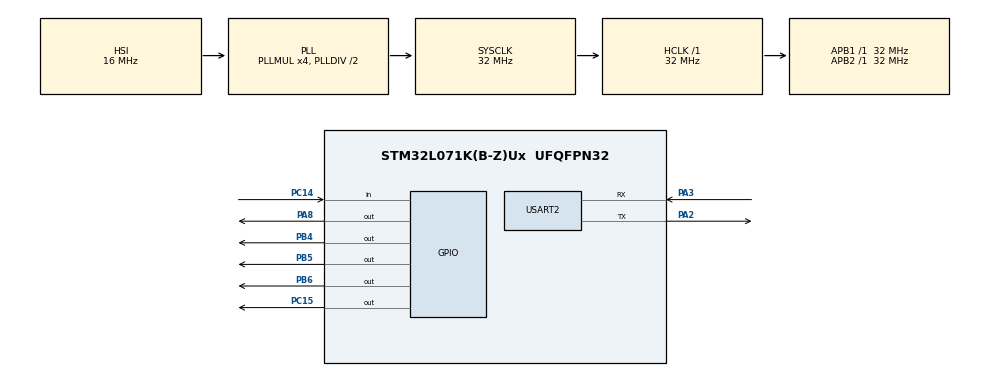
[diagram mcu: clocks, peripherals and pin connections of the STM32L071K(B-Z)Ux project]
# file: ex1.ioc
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Mcu.Family=STM32L0
Mcu.Name=STM32L071K(B-Z)Ux
Mcu.Package=UFQFPN32
PA13.Mode=Serial_Wire
PA13.Signal=SYS_SWDIO
PA14.Mode=Serial_Wire
PA14.Signal=SYS_SWCLK
PA2.Mode=Asynchronous
PA2.Signal=USART2_TX
PA3.Mode=Asynchronous
PA3.Signal=USART2_RX
PA8.Signal=GPIO_Output
PB4.Signal=GPIO_Output
PB5.Signal=GPIO_Output
PB6.Signal=GPIO_Output
PC14-OSC32_IN.Signal=GPIO_Input
PC15-OSC32_OUT.Signal=GPIO_Output
ProjectManager.HeapSize=0x200
ProjectManager.StackSize=0x400
ProjectManager.TargetToolchain=MDK-ARM V5
RCC.AHBFreq_Value=32000000
RCC.APB1Freq_Value=32000000
RCC.APB1TimFreq_Value=32000000
RCC.APB2Freq_Value=32000000
RCC.APB2TimFreq_Value=32000000
RCC.HCLKFreq_Value=32000000
RCC.HSI16_VALUE=16000000
RCC.HSI_VALUE=16000000
RCC.LSE_VALUE=32768
RCC.MSI_VALUE=2097000
RCC.PLLMUL=RCC_PLLMUL_4
RCC.SYSCLKFreq_VALUE=32000000
RCC.SYSCLKSource=RCC_SYSCLKSOURCE_PLLCLK
RCC.VCOOutputFreq_Value=64000000
RTC.Format=RTC_FORMAT_BIN
USART2.VirtualMode-Asynchronous=VM_ASYNC
VP_RTC_VS_RTC_Activate.Mode=RTC_Enabled
VP_RTC_VS_RTC_Calendar.Mode=RTC_Calendar
board=custom

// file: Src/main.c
/* USER CODE BEGIN Header */
/**
  ******************************************************************************
  * @file           : main.c
  * @brief          : Main program body
  ******************************************************************************
  * @attention
  *
  * <h2><center>&copy; Copyright (c) 2019 STMicroelectronics.
  * All rights reserved.</center></h2>
  *
  * This software component is licensed by ST under BSD 3-Clause license,
  * the "License"; You may not use this file except in compliance with the
  * License. You may obtain a copy of the License at:
  *                        opensource.org/licenses/BSD-3-Clause
  *
  ******************************************************************************
  */
/* USER CODE END Header */

#include "main.h"
#include "rtc.h"
#include "usart.h"
#include "gpio.h"
#include "stdlib.h"

void SystemClock_Config(void);

/* USER CODE BEGIN 0 */
void Task_BrdInit(void)
{
    HAL_GPIO_WritePin(GPIOC, GPIO_PIN_15, GPIO_PIN_SET);

    OLED_PowerControl(ENABLE);

    HAL_Delay(200);
    OLED_Init();
    OLED_Clear();

    OLED_ShowString(0, 0, (unsigned char *)"                ", 16);
    OLED_ShowString(0, 2, (unsigned char *)"                ", 16);

}
/* USER CODE END 0 */

int main(void)
{
  /* USER CODE BEGIN 1 */
    char lcdLine_1st_line[16];
    char lcdLine_2st_line[16];

  /* USER CODE END 1 */

  /* MCU Configuration--------------------------------------------------------*/

  /* Reset of all peripherals, Initializes the Flash interface and the Systick. */
  HAL_Init();

  /* Configure the system clock */
  SystemClock_Config();

  /* Initialize all configured peripherals */
  MX_GPIO_Init();
  MX_RTC_Init();
  MX_USART2_UART_Init();
  /* USER CODE BEGIN 2 */
    Task_BrdInit();
  /* USER CODE END 2 */

  /* Infinite loop */
    while (1)
    {

    /* USER CODE BEGIN 3 */
		RTC_TimeTypeDef NowTime;
    RTC_DateTypeDef NowDate;
    char lcdLine_1st_line[16];
    char lcdLine_2nd_line[16];
//			unsigned char txt[16]=" ",tx1[2];
//			double a;

    HAL_RTC_GetTime(&hrtc, &NowTime, RTC_FORMAT_BIN);

    HAL_RTC_GetDate(&hrtc, &NowDate, RTC_FORMAT_BIN);

		sprintf(lcdLine_1st_line, "%d : %d : %d ", NowDate.Year, NowDate.Month, NowDate.Date);
    sprintf(lcdLine_2nd_line, "%d : %d : %d ", NowTime.Hours, NowTime.Minutes, NowTime.Seconds);

		OLED_ShowString(0, 0, (unsigned char *)lcdLine_1st_line, 16);
    OLED_ShowString(0, 2, (unsigned char *)lcdLine_2nd_line, 16);

//			HAL_UART_Receive(&huart2,txt,sizeof(txt),0xffff);
//			if(txt[0]=='1')
//			{
//				HAL_GPIO_WritePin(GPIOC, GPIO_PIN_15, GPIO_PIN_RESET);
////				tx1=txt[1];a=atof(tx1);
//				NowTime.Hours=txt[1]*10+txt[2];
//				NowTime.Minutes=txt[4]*10+txt[5];
//				HAL_RTC_SetTime(&hrtc, &NowTime, RTC_FORMAT_BIN);
//			}
    }
  /* USER CODE END 3 */
}

void SystemClock_Config(void)
{
  RCC_OscInitTypeDef RCC_OscInitStruct = {0};
  RCC_ClkInitTypeDef RCC_ClkInitStruct = {0};
  RCC_PeriphCLKInitTypeDef PeriphClkInit = {0};

  /** Configure the main internal regulator output voltage
  */
  __HAL_PWR_VOLTAGESCALING_CONFIG(PWR_REGULATOR_VOLTAGE_SCALE1);
  /** Initializes the CPU, AHB and APB busses clocks
  */
  RCC_OscInitStruct.OscillatorType = RCC_OSCILLATORTYPE_HSI|RCC_OSCILLATORTYPE_LSI;
  RCC_OscInitStruct.HSIState = RCC_HSI_ON;
  RCC_OscInitStruct.HSICalibrationValue = RCC_HSICALIBRATION_DEFAULT;
  RCC_OscInitStruct.LSIState = RCC_LSI_ON;
  RCC_OscInitStruct.PLL.PLLState = RCC_PLL_ON;
  RCC_OscInitStruct.PLL.PLLSource = RCC_PLLSOURCE_HSI;
  RCC_OscInitStruct.PLL.PLLMUL = RCC_PLLMUL_4;
  RCC_OscInitStruct.PLL.PLLDIV = RCC_PLLDIV_2;
  if (HAL_RCC_OscConfig(&RCC_OscInitStruct) != HAL_OK)
  {
    Error_Handler();
  }
  /** Initializes the CPU, AHB and APB busses clocks
  */
  RCC_ClkInitStruct.ClockType = RCC_CLOCKTYPE_HCLK|RCC_CLOCKTYPE_SYSCLK
                              |RCC_CLOCKTYPE_PCLK1|RCC_CLOCKTYPE_PCLK2;
  RCC_ClkInitStruct.SYSCLKSource = RCC_SYSCLKSOURCE_PLLCLK;
  RCC_ClkInitStruct.AHBCLKDivider = RCC_SYSCLK_DIV1;
  RCC_ClkInitStruct.APB1CLKDivider = RCC_HCLK_DIV1;
  RCC_ClkInitStruct.APB2CLKDivider = RCC_HCLK_DIV1;

  if (HAL_RCC_ClockConfig(&RCC_ClkInitStruct, FLASH_LATENCY_1) != HAL_OK)
  {
    Error_Handler();
  }
  PeriphClkInit.PeriphClockSelection = RCC_PERIPHCLK_USART2|RCC_PERIPHCLK_RTC;
  PeriphClkInit.Usart2ClockSelection = RCC_USART2CLKSOURCE_PCLK1;
  PeriphClkInit.RTCClockSelection = RCC_RTCCLKSOURCE_LSI;
  if (HAL_RCCEx_PeriphCLKConfig(&PeriphClkInit) != HAL_OK)
  {
    Error_Handler();
  }
}

void Error_Handler(void)
{
}

/************************ (C) COPYRIGHT STMicroelectronics *****END OF FILE****/
